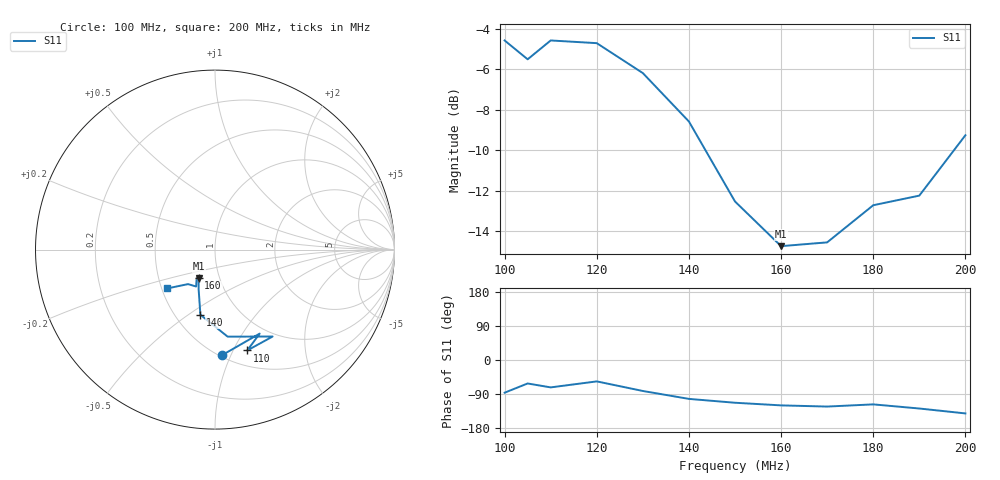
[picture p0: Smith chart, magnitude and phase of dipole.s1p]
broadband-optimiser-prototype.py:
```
#!/usr/bin/env python3
"""
Broadband matching by minimax search, from measured data.

Run from the QuickSmith repo root:
    python3 research/broadband-optimiser-prototype.py

Reads touchstone/dipole.s1p, interpolates it the way engine.js does, then
searches component values to minimise the WORST VSWR across the band rather
than the VSWR at one frequency. No theory, just search, and it still beats
the hand-tuned Example 4.
"""
import cmath, math, random

Z0 = 50.0
BAND = [100 + i for i in range(101)]          # 100..200 MHz, 1 MHz grid

# ---------------------------------------------------------------- the load
def monotone_cubic(xs, ys):
    """Fritsch-Carlson, the same scheme engine.js uses, clamped at the ends."""
    n = len(xs)
    dx = [xs[i+1]-xs[i] for i in range(n-1)]
    m  = [(ys[i+1]-ys[i])/dx[i] for i in range(n-1)]
    c1 = [m[0]]
    for i in range(len(dx)-1):
        if m[i]*m[i+1] <= 0:
            c1.append(0.0)
        else:
            com = dx[i]+dx[i+1]
            c1.append(3*com/((com+dx[i+1])/m[i] + (com+dx[i])/m[i+1]))
    c1.append(m[-1])
    c2, c3 = [], []
    for i in range(len(c1)-1):
        inv = 1/dx[i]; com2 = c1[i]+c1[i+1]-2*m[i]
        c2.append((m[i]-c1[i]-com2)*inv); c3.append(com2*inv*inv)
    def f(x):
        if x <= xs[0]:  return ys[0]          # never extrapolate a measurement
        if x >= xs[-1]: return ys[-1]
        k = max(i for i in range(n-1) if xs[i] <= x)
        d = x-xs[k]
        return ys[k] + c1[k]*d + c2[k]*d*d + c3[k]*d*d*d
    return f

def read_s1p(path):
    F, M, A = [], [], []
    for line in open(path):
        line = line.strip()
        if not line or line[0] in "!#":
            continue
        a, b, c = line.split()[:3]
        F.append(float(a)); M.append(float(b)); A.append(float(c))
    U, off = [A[0]], 0.0                       # unwrap the phase
    for i in range(1, len(A)):
        d = A[i]-A[i-1]
        if d > 180: off -= 360
        elif d < -180: off += 360
        U.append(A[i]+off)
    fm, fa = monotone_cubic(F, M), monotone_cubic(F, U)
    def z(f):
        g = fm(f)*cmath.exp(1j*fa(f)*math.pi/180)
        return Z0*(1+g)/(1-g)
    return z

zant = read_s1p("touchstone/dipole.s1p")

# ------------------------------------------------------------- topologies
def vswr(z):
    g = abs((z-Z0)/(z+Z0))
    return (1+g)/(1-g) if g < 1 else 999.0

def worst(net):
    return max(vswr(net(f)) for f in BAND)

def stub_Y(Zs, th150, f):
    """Shorted shunt stub, admittance. Length given in degrees at 150 MHz."""
    return 1/(1j*Zs*math.tan(th150*(f/150.0)*math.pi/180))

def W(f):
    return 2*math.pi*f*1e6

def line(z, Zl, th150, f):
    """A length of line in series, which ROTATES rather than slides."""
    b = th150*(f/150.0)*math.pi/180
    return Zl*(z + 1j*Zl*math.tan(b))/(Zl + 1j*z*math.tan(b))

# Every topology in the article's comparison table. Each returns a function of
# frequency giving the impedance the source sees, and carries the search bounds
# for its own parameters.

def t_L_stub(p):
    """Example 4's shape: series inductor, then a shorted shunt stub."""
    L, Zs, th = p
    return lambda f: 1/(1/(zant(f) + 1j*W(f)*L*1e-9) + stub_Y(Zs, th, f))

def t_L_stub_seriesL(p):
    """The one that gave the surprise: the extra inductor is driven to zero."""
    L, Zs, th, L2 = p
    return lambda f: 1/(1/(zant(f) + 1j*W(f)*L*1e-9) + stub_Y(Zs, th, f)) \
                     + 1j*W(f)*L2*1e-9

def t_L_stub_seriesC(p):
    L, Zs, th, C = p
    return lambda f: 1/(1/(zant(f) + 1j*W(f)*L*1e-9) + stub_Y(Zs, th, f)) \
                     - 1j/(W(f)*C*1e-12)

def t_L_stub_shuntC(p):
    L, Zs, th, C = p
    def z(f):
        y = 1/(zant(f) + 1j*W(f)*L*1e-9) + stub_Y(Zs, th, f)
        return 1/(y + 1j*W(f)*C*1e-12)
    return z

def t_L_stub_stub(p):
    """Two stubs at the same plane. The search rebuilds the single stub."""
    L, Zs1, th1, Zs2, th2 = p
    return lambda f: 1/(1/(zant(f) + 1j*W(f)*L*1e-9)
                        + stub_Y(Zs1, th1, f) + stub_Y(Zs2, th2, f))

def t_L_stub_line_stub(p):
    """The only addition that genuinely helps, because the line rotates."""
    L, Zs1, th1, Zl, thl, Zs2, th2 = p
    def z(f):
        z1 = 1/(1/(zant(f) + 1j*W(f)*L*1e-9) + stub_Y(Zs1, th1, f))
        return 1/(1/line(z1, Zl, thl, f) + stub_Y(Zs2, th2, f))
    return z

def t_L_shuntC(p):
    """A plain lumped L network, for comparison."""
    L, C = p
    return lambda f: 1/(1/(zant(f) + 1j*W(f)*L*1e-9) + 1j*W(f)*C*1e-12)

L_B, Z_B, TH_B, C_B = (1, 150), (5, 200), (20, 170), (0.5, 200)

TOPOLOGIES = [
    ("L + stub",                  t_L_stub,            [L_B, Z_B, TH_B]),
    ("L + stub + series L",       t_L_stub_seriesL,    [L_B, Z_B, TH_B, (0, 150)]),
    ("L + stub + series C",       t_L_stub_seriesC,    [L_B, Z_B, TH_B, C_B]),
    ("L + stub + shunt C",        t_L_stub_shuntC,     [L_B, Z_B, TH_B, C_B]),
    ("L + stub + second stub",    t_L_stub_stub,       [L_B, Z_B, TH_B, Z_B, TH_B]),
    ("L + stub + line + stub",    t_L_stub_line_stub,  [L_B, Z_B, TH_B, (10,150), (5,170), Z_B, TH_B]),
    ("plain L network, lumped",   t_L_shuntC,          [L_B, C_B]),
]

# -------------------------------------------------------------- the search
def nelder_mead(cost, x0, step, iters=4000):
    n = len(x0)
    pts = [list(x0)] + [[x0[j] + (step[i] if i == j else 0) for j in range(n)]
                        for i in range(n)]
    vals = [cost(p) for p in pts]
    for _ in range(iters):
        order = sorted(range(len(pts)), key=lambda i: vals[i])
        pts = [pts[i] for i in order]; vals = [vals[i] for i in order]
        if abs(vals[-1]-vals[0]) < 1e-9:
            break
        cen = [sum(p[i] for p in pts[:-1])/n for i in range(n)]
        ref = [cen[i] + (cen[i]-pts[-1][i]) for i in range(n)]
        fr = cost(ref)
        if fr < vals[0]:
            exp = [cen[i] + 2*(cen[i]-pts[-1][i]) for i in range(n)]
            fe = cost(exp)
            pts[-1], vals[-1] = (exp, fe) if fe < fr else (ref, fr)
        elif fr < vals[-2]:
            pts[-1], vals[-1] = ref, fr
        else:
            con = [cen[i] + 0.5*(pts[-1][i]-cen[i]) for i in range(n)]
            fc = cost(con)
            if fc < vals[-1]:
                pts[-1], vals[-1] = con, fc
            else:
                for i in range(1, len(pts)):
                    pts[i] = [(pts[i][j]+pts[0][j])/2 for j in range(n)]
                    vals[i] = cost(pts[i])
    b = min(range(len(pts)), key=lambda i: vals[i])
    return pts[b], vals[b]

def search(net, bounds, trials=60, seed=7):
    random.seed(seed)
    def cost(p):
        if any(v < lo or v > hi for v, (lo, hi) in zip(p, bounds)):
            return 999.0
        try:    return worst(net(p))
        except Exception: return 999.0
    best = None
    step = [(hi-lo)*0.08 for lo, hi in bounds]
    for _ in range(trials):
        x0 = [random.uniform(lo, hi) for lo, hi in bounds]
        p, v = nelder_mead(cost, x0, step)
        if best is None or v < best[1]:
            best = (p, v)
    return best

if __name__ == "__main__":
    print("Worst VSWR across 100-200 MHz, an octave, on the measured dipole")
    print("minimax search, 70 restarts per topology\n")
    print(f"  {'bare antenna':28} {worst(zant):.3f}")
    print(f"  {'Example 4, hand tuned':28} "
          f"{worst(t_L_stub([32, 25, 95])):.3f}   32 nH, 25 ohm, 95 deg\n")

    for name, net, bounds in TOPOLOGIES:
        p, v = search(net, bounds, trials=70, seed=13)
        print(f"  {name:28} {v:.3f}   " + ", ".join(f"{x:.2f}" for x in p))

    print("\nNote the third row: given a spare series inductor the search")
    print("drives it to nothing. And the two-stub row returns the same 1.630")
    print("as one stub, because two stubs at one plane are one stub.")
```
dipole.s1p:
! Dipole antenna, 100-200 MHz, reflection coefficient at the feedpoint.
! Same measurement as gam/dipole.gam and sch/Dipole.sch - Example 4.
# MHZ S MA R 50
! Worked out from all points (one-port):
!   12 points, 100 MHz to 200 MHz, reference 50 ohm
!   lowest |S11| = -14.8 dB at 160 MHz (marker M1), VSWR 1.45, Z = 39.8 - j13.1 ohm
!   |S11| at or under -10 dB: 143.6 MHz to 197.5 MHz (53.98 MHz wide, 31.6 % of centre)
!   S11 on the Smith chart (normalised r, x): 100 MHz: 0.51, -0.93; 110 MHz: 0.66, -1.14; 140 MHz: 0.66, -0.56; 160 MHz: 0.80, -0.26; 200 MHz: 0.53, -0.26
100  0.59 -86.3
105  0.53 -62.0
110  0.59 -72.3
120  0.581 -56.5
130  0.49 -81.8
140  0.372 -102.6
150  0.236 -112.8
160  0.183 -119.8
170  0.187 -122.9
180  0.231 -117.1
190  0.244 -128.0
200  0.344 -141.0
